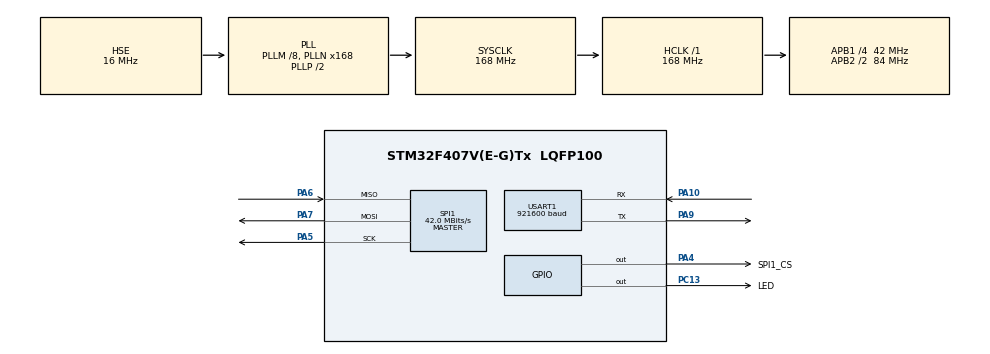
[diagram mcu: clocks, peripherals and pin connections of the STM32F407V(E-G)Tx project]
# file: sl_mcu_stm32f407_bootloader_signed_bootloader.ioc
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Mcu.Family=STM32F4
Mcu.Name=STM32F407V(E-G)Tx
Mcu.Package=LQFP100
NVIC.PriorityGroup=NVIC_PRIORITYGROUP_4
PA10.Mode=Asynchronous
PA10.Signal=USART1_RX
PA13.Mode=Trace_Asynchronous_SW
PA13.Signal=SYS_JTMS-SWDIO
PA14.Mode=Trace_Asynchronous_SW
PA14.Signal=SYS_JTCK-SWCLK
PA4.GPIO_Label=SPI1_CS
PA4.PinState=GPIO_PIN_SET
PA4.Signal=GPIO_Output
PA5.Mode=Full_Duplex_Master
PA5.Signal=SPI1_SCK
PA6.Mode=Full_Duplex_Master
PA6.Signal=SPI1_MISO
PA7.Mode=Full_Duplex_Master
PA7.Signal=SPI1_MOSI
PA9.Mode=Asynchronous
PA9.Signal=USART1_TX
PB3.Mode=Trace_Asynchronous_SW
PB3.Signal=SYS_JTDO-SWO
PC13-ANTI_TAMP.GPIO_Label=LED
PC13-ANTI_TAMP.GPIO_ModeDefaultOutputPP=GPIO_MODE_OUTPUT_OD
PC13-ANTI_TAMP.GPIO_PuPd=GPIO_NOPULL
PC13-ANTI_TAMP.PinState=GPIO_PIN_SET
PC13-ANTI_TAMP.Signal=GPIO_Output
PH0-OSC_IN.Mode=HSE-External-Oscillator
PH0-OSC_IN.Signal=RCC_OSC_IN
PH1-OSC_OUT.Mode=HSE-External-Oscillator
PH1-OSC_OUT.Signal=RCC_OSC_OUT
ProjectManager.HeapSize=0x200
ProjectManager.StackSize=0x400
ProjectManager.TargetToolchain=STM32CubeIDE
RCC.48MHZClocksFreq_Value=48000000
RCC.AHBFreq_Value=168000000
RCC.APB1CLKDivider=RCC_HCLK_DIV4
RCC.APB1Freq_Value=42000000
RCC.APB1TimFreq_Value=84000000
RCC.APB2CLKDivider=RCC_HCLK_DIV2
RCC.APB2Freq_Value=84000000
RCC.APB2TimFreq_Value=168000000
RCC.CortexFreq_Value=168000000
RCC.HCLKFreq_Value=168000000
RCC.HSE_VALUE=16000000
RCC.HSI_VALUE=16000000
RCC.LSE_VALUE=32768
RCC.PLLM=8
RCC.PLLN=168
RCC.PLLQ=7
RCC.PLLSourceVirtual=RCC_PLLSOURCE_HSE
RCC.SYSCLKFreq_VALUE=168000000
RCC.SYSCLKSource=RCC_SYSCLKSOURCE_PLLCLK
RCC.VCOOutputFreq_Value=336000000
SPI1.CalculateBaudRate=42.0 MBits/s
SPI1.Direction=SPI_DIRECTION_2LINES
SPI1.Mode=SPI_MODE_MASTER
SPI1.VirtualType=VM_MASTER
USART1.BaudRate=921600
USART1.OverSampling=UART_OVERSAMPLING_8
USART1.VirtualMode=VM_ASYNC
board=custom

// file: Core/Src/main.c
/* USER CODE BEGIN Header */
/**
 ******************************************************************************
 * @file           : main.c
 * @brief          : Main program body
 ******************************************************************************
 * @attention
 *
 * Copyright (c) 2026 STM32World <lth@stm32world.com>
 * All rights reserved.
 *
 * This software is licensed under terms that can be found in the LICENSE file
 * in the root directory of this software component.
 * If no LICENSE file comes with this software, it is provided AS-IS.
 *
 ******************************************************************************
 */
/* USER CODE END Header */
#include "main.h"

/* USER CODE BEGIN Includes */
#include <stdio.h>
#include <string.h>
#include <stdbool.h>
#include "w25qxx.h"

/* USER CODE END Includes */

/* USER CODE BEGIN PTD */

typedef struct {
    uint32_t magic;          // 4 bytes: Magic identifier (e.g. 0x4150504B / "KAPP")
    uint32_t payload_len;    // 4 bytes: Size of binary firmware in bytes
    uint8_t signature[64];  // 64 bytes: ECDSA raw signature (32-byte R + 32-byte S)
    uint8_t reserved[56];   // 56 bytes: Zero padding to align header to 128 bytes
} Header128_t;

typedef void (*pFunction)(void);

/* USER CODE END PTD */

/* USER CODE BEGIN PD */

// #define printf(...)      // Nuke printf to save space
#define DFU_BOOT_FLAG 0xDEADBEEF
#define APP_ADDRESS 0x08008000
#define CHUNK_SIZE 512

/* USER CODE END PD */

SPI_HandleTypeDef hspi1;

UART_HandleTypeDef huart1;

/* USER CODE BEGIN PV */
W25QXX_HandleTypeDef w25qxx;

extern int _bflag;
uint32_t *dfu_boot_flag;
pFunction JumpToApplication;
uint32_t JumpAddress;

/* USER CODE END PV */

void SystemClock_Config(void);
static void MX_GPIO_Init(void);
static void MX_USART1_UART_Init(void);
static void MX_SPI1_Init(void);
/* USER CODE BEGIN PFP */

static bool flash_stm32_app(uint32_t src_flash_addr, uint32_t dst_stm32_addr, uint32_t length);

/* USER CODE END PFP */

/* USER CODE BEGIN 0 */

// Send printf to uart1
int __io_putchar(int ch) {
    if (ch == '\n') {
        HAL_UART_Transmit(&huart1, (uint8_t*) "\r", 1, HAL_MAX_DELAY);
    }
    if (HAL_UART_Transmit(&huart1, (uint8_t*) &ch, 1, HAL_MAX_DELAY) != HAL_OK) {
        return -1;
    }
    return ch;
}

/**
 * @brief Erases STM32 internal flash sectors and programs payload from external W25Qxx SPI flash
 */
static bool flash_stm32_app(uint32_t src_flash_addr, uint32_t dst_stm32_addr, uint32_t length) {
    uint8_t buffer[CHUNK_SIZE];
    uint32_t bytes_written = 0;

    HAL_FLASH_Unlock();

    // Erase STM32 internal Flash sectors for Application space (Sector 2 through 11 for STM32F407 1MB)
    FLASH_EraseInitTypeDef EraseInitStruct;
    uint32_t SectorError = 0;

    EraseInitStruct.TypeErase = FLASH_TYPEERASE_SECTORS;
    EraseInitStruct.VoltageRange = FLASH_VOLTAGE_RANGE_3;
    EraseInitStruct.Sector = FLASH_SECTOR_2; // Sector 2 starts at 0x08008000
    EraseInitStruct.NbSectors = 10;            // Erase all upper sectors allocated for app

    printf("[BOOT] Erasing STM32 internal Flash starting at Sector 2...\n");
    if (HAL_FLASHEx_Erase(&EraseInitStruct, &SectorError) != HAL_OK) {
        printf("[BOOT] Error erasing internal flash sector %lu!\n", SectorError);
        HAL_FLASH_Lock();
        return false;
    }
    printf("[BOOT] STM32 internal Flash erased successfully.\n");

    // Copy payload from SPI Flash to STM32 Internal Flash
    printf("[BOOT] Copying firmware to internal Flash (Address 0x%08lX, %lu bytes)...\n", dst_stm32_addr, length);
    while (bytes_written < length) {
        uint32_t chunk_len = (length - bytes_written < CHUNK_SIZE) ? (length - bytes_written) : CHUNK_SIZE;

        w25qxx_read(&w25qxx, src_flash_addr + bytes_written, buffer, chunk_len);

        for (uint32_t i = 0; i < chunk_len; i++) {
            uint32_t target_addr = dst_stm32_addr + bytes_written + i;
            if (HAL_FLASH_Program(FLASH_TYPEPROGRAM_BYTE, target_addr, buffer[i]) != HAL_OK) {
                printf("[BOOT] Programming failed at 0x%08lX!\n", target_addr);
                HAL_FLASH_Lock();
                return false;
            }
        }

        bytes_written += chunk_len;
    }

    HAL_FLASH_Lock();
    printf("[BOOT] Internal Flash programming complete!\n");
    return true;
}

/* USER CODE END 0 */

int main(void)
{

    /* USER CODE BEGIN 1 */

    // We handle all this before the HAL Libraries have been initialized.
    dfu_boot_flag = (uint32_t*) (&_bflag); // set in linker script

    if (*dfu_boot_flag != DFU_BOOT_FLAG) {

        /* Test if user code is programmed starting from address 0x08008000 */
        if (((*(__IO uint32_t*) APP_ADDRESS) & 0x2FFC0000) == 0x20000000) {

            /* Jump to user application */
            JumpAddress = *(__IO uint32_t*) (APP_ADDRESS + 4);
            JumpToApplication = (pFunction) JumpAddress;

            /* Initialize user application's Stack Pointer */
            __set_MSP(*(__IO uint32_t*) APP_ADDRESS);

            JumpToApplication();
        }

    }

    *dfu_boot_flag = 0; // So next boot won't be affected

    /* USER CODE END 1 */

    /* MCU Configuration--------------------------------------------------------*/

    /* Reset of all peripherals, Initializes the Flash interface and the Systick. */
    HAL_Init();

    /* Configure the system clock */
    SystemClock_Config();

    /* Initialize all configured peripherals */
    MX_GPIO_Init();
    MX_USART1_UART_Init();
    MX_SPI1_Init();
    /* USER CODE BEGIN 2 */

    printf("\n\n\n\n--------\nBootloader\n");

    if (w25qxx_init(&w25qxx, &hspi1, SPI1_CS_GPIO_Port, SPI1_CS_Pin) != W25QXX_Ok) {
        printf("W25QXX Error");
        Error_Handler();
    }

    printf("W25QXX successfully initialized\n");
    printf("Manufacturer       = 0x%2x\n", w25qxx.manufacturer_id);
    printf("Device             = 0x%4x\n", w25qxx.device_id);
    printf("Block size         = 0x%04lx (%lu)\n", w25qxx.block_size, w25qxx.block_size);
    printf("Block count        = 0x%04lx (%lu)\n", w25qxx.block_count, w25qxx.block_count);
    printf("Sector size        = 0x%04lx (%lu)\n", w25qxx.sector_size, w25qxx.sector_size);
    printf("Sectors per block  = 0x%04lx (%lu)\n", w25qxx.sectors_in_block, w25qxx.sectors_in_block);
    printf("Page size          = 0x%04lx (%lu)\n", w25qxx.page_size, w25qxx.page_size);
    printf("Pages per sector   = 0x%04lx (%lu)\n", w25qxx.pages_in_sector, w25qxx.pages_in_sector);
    printf("Total size (in kB) = 0x%04lx (%lu)\n", (w25qxx.block_count * w25qxx.block_size) / 1024, (w25qxx.block_count * w25qxx.block_size) / 1024);

    // Read 128-byte header from external SPI Flash
    Header128_t header;
    w25qxx_read(&w25qxx, 0x00000000, (uint8_t*) &header, sizeof(Header128_t));

    // Check if valid firmware exists in external SPI flash
    if (header.magic == 0x4150504B && header.payload_len > 0) {
        printf("[BOOT] New valid firmware found in SPI flash (%lu bytes).\n", header.payload_len);

        // Flash firmware to STM32 internal Flash starting at offset 128 (payload area)
        if (flash_stm32_app(sizeof(Header128_t), APP_ADDRESS, header.payload_len)) {

            printf("[BOOT] Nuking magic marker...\n");

            // Invalidate magic in SPI flash header so we don't re-flash on next reboot
            uint32_t invalid_magic = 0xFFFFFFFF;

            w25qxx_erase(&w25qxx, 0x00000000, sizeof(invalid_magic));
            w25qxx_write(&w25qxx, 0x00000000, (uint8_t*) &invalid_magic, sizeof(invalid_magic));

            printf("[BOOT] Firmware update complete. Rebooting MCU...\n");
            HAL_NVIC_SystemReset();

        } else {
            printf("[BOOT] ERROR: Failed to write internal flash!\n");
        }
    } else {
        printf("[BOOT] No valid firmware magic found in SPI flash.\n");
    }

    /* USER CODE END 2 */

    /* Infinite loop */
    /* USER CODE BEGIN WHILE */

    register uint32_t now = 0, loop_cnt = 0, next_blink = 100, next_tick = 1000;

    while (1) {

        now = uwTick;

        if (now >= next_blink) {
            HAL_GPIO_TogglePin(LED_GPIO_Port, LED_Pin);
            next_blink += 100;
        }

        if (now >= next_tick) {

            printf("Tick %lu (loop = %lu)\n", now / 1000, loop_cnt);

            loop_cnt = 0;
            next_tick = now + 1000;
        }

        ++loop_cnt;

        /* USER CODE END WHILE */

    }
}

void SystemClock_Config(void)
{
    RCC_OscInitTypeDef RCC_OscInitStruct = { 0 };
    RCC_ClkInitTypeDef RCC_ClkInitStruct = { 0 };

    /** Configure the main internal regulator output voltage
     */
    __HAL_RCC_PWR_CLK_ENABLE();
    __HAL_PWR_VOLTAGESCALING_CONFIG(PWR_REGULATOR_VOLTAGE_SCALE1);

    /** Initializes the RCC Oscillators according to the specified parameters
     * in the RCC_OscInitTypeDef structure.
     */
    RCC_OscInitStruct.OscillatorType = RCC_OSCILLATORTYPE_HSE;
    RCC_OscInitStruct.HSEState = RCC_HSE_ON;
    RCC_OscInitStruct.PLL.PLLState = RCC_PLL_ON;
    RCC_OscInitStruct.PLL.PLLSource = RCC_PLLSOURCE_HSE;
    RCC_OscInitStruct.PLL.PLLM = 8;
    RCC_OscInitStruct.PLL.PLLN = 168;
    RCC_OscInitStruct.PLL.PLLP = RCC_PLLP_DIV2;
    RCC_OscInitStruct.PLL.PLLQ = 7;
    if (HAL_RCC_OscConfig(&RCC_OscInitStruct) != HAL_OK)
            {
        Error_Handler();
    }

    /** Initializes the CPU, AHB and APB buses clocks
     */
    RCC_ClkInitStruct.ClockType = RCC_CLOCKTYPE_HCLK | RCC_CLOCKTYPE_SYSCLK
            | RCC_CLOCKTYPE_PCLK1 | RCC_CLOCKTYPE_PCLK2;
    RCC_ClkInitStruct.SYSCLKSource = RCC_SYSCLKSOURCE_PLLCLK;
    RCC_ClkInitStruct.AHBCLKDivider = RCC_SYSCLK_DIV1;
    RCC_ClkInitStruct.APB1CLKDivider = RCC_HCLK_DIV4;
    RCC_ClkInitStruct.APB2CLKDivider = RCC_HCLK_DIV2;

    if (HAL_RCC_ClockConfig(&RCC_ClkInitStruct, FLASH_LATENCY_5) != HAL_OK)
            {
        Error_Handler();
    }
}

static void MX_SPI1_Init(void)
{

    /* SPI1 parameter configuration*/
    hspi1.Instance = SPI1;
    hspi1.Init.Mode = SPI_MODE_MASTER;
    hspi1.Init.Direction = SPI_DIRECTION_2LINES;
    hspi1.Init.DataSize = SPI_DATASIZE_8BIT;
    hspi1.Init.CLKPolarity = SPI_POLARITY_LOW;
    hspi1.Init.CLKPhase = SPI_PHASE_1EDGE;
    hspi1.Init.NSS = SPI_NSS_SOFT;
    hspi1.Init.BaudRatePrescaler = SPI_BAUDRATEPRESCALER_2;
    hspi1.Init.FirstBit = SPI_FIRSTBIT_MSB;
    hspi1.Init.TIMode = SPI_TIMODE_DISABLE;
    hspi1.Init.CRCCalculation = SPI_CRCCALCULATION_DISABLE;
    hspi1.Init.CRCPolynomial = 10;
    if (HAL_SPI_Init(&hspi1) != HAL_OK)
            {
        Error_Handler();
    }

}

static void MX_USART1_UART_Init(void)
{

    huart1.Instance = USART1;
    huart1.Init.BaudRate = 921600;
    huart1.Init.WordLength = UART_WORDLENGTH_8B;
    huart1.Init.StopBits = UART_STOPBITS_1;
    huart1.Init.Parity = UART_PARITY_NONE;
    huart1.Init.Mode = UART_MODE_TX_RX;
    huart1.Init.HwFlowCtl = UART_HWCONTROL_NONE;
    huart1.Init.OverSampling = UART_OVERSAMPLING_8;
    if (HAL_UART_Init(&huart1) != HAL_OK)
            {
        Error_Handler();
    }

}

static void MX_GPIO_Init(void)
{
    GPIO_InitTypeDef GPIO_InitStruct = { 0 };

    /* GPIO Ports Clock Enable */
    __HAL_RCC_GPIOC_CLK_ENABLE();
    __HAL_RCC_GPIOH_CLK_ENABLE();
    __HAL_RCC_GPIOA_CLK_ENABLE();
    __HAL_RCC_GPIOB_CLK_ENABLE();

    /*Configure GPIO pin Output Level */
    HAL_GPIO_WritePin(LED_GPIO_Port, LED_Pin, GPIO_PIN_SET);

    /*Configure GPIO pin Output Level */
    HAL_GPIO_WritePin(SPI1_CS_GPIO_Port, SPI1_CS_Pin, GPIO_PIN_SET);

    /*Configure GPIO pin : LED_Pin */
    GPIO_InitStruct.Pin = LED_Pin;
    GPIO_InitStruct.Mode = GPIO_MODE_OUTPUT_OD;
    GPIO_InitStruct.Pull = GPIO_NOPULL;
    GPIO_InitStruct.Speed = GPIO_SPEED_FREQ_LOW;
    HAL_GPIO_Init(LED_GPIO_Port, &GPIO_InitStruct);

    /*Configure GPIO pin : SPI1_CS_Pin */
    GPIO_InitStruct.Pin = SPI1_CS_Pin;
    GPIO_InitStruct.Mode = GPIO_MODE_OUTPUT_PP;
    GPIO_InitStruct.Pull = GPIO_NOPULL;
    GPIO_InitStruct.Speed = GPIO_SPEED_FREQ_LOW;
    HAL_GPIO_Init(SPI1_CS_GPIO_Port, &GPIO_InitStruct);

}

void Error_Handler(void)
{
    __disable_irq();
    while (1)
    {
    }
}
